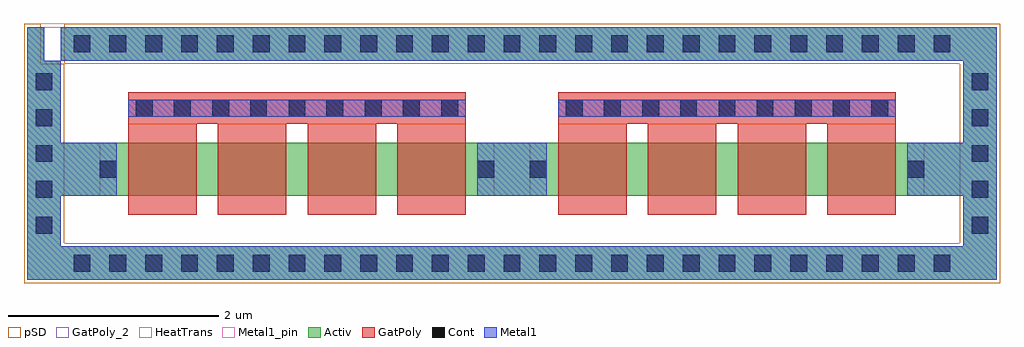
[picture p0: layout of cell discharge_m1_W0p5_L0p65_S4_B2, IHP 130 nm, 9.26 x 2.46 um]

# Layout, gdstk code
import gdstk
lib = gdstk.Library(unit=1e-6, precision=1e-09)
def R(c, l, rs):  # rectangles x0, y0, x1, y1
    for r in rs: c.add(gdstk.rectangle(r[:2], r[2:], *l))
def A(c, l, x, y, w, h, nx, ny, dx, dy):  # array of equal rectangles
    R(c, l, [(x+i*dx, y+j*dy, x+i*dx+w, y+j*dy+h) for i in range(nx) for j in range(ny)])
def P(c, l, *ps):  # polygons
    for p in ps: c.add(gdstk.Polygon(p, *l))
Activ = (1, 0)
GatPoly = (5, 0)
GatPoly_2 = (5, 2)
Cont = (6, 0)
Metal1 = (8, 0)
Metal1_pin = (8, 2)
pSD = (14, 0)
HeatTrans = (51, 0)

nmos_series_w0p5_l0p65_s = lib.new_cell('nmos_series_W0p5_L0p65_S4_ISW0p2_Msg13_lv_nmos')
R(nmos_series_w0p5_l0p65_s, Activ, [(0,0,0.3,0.3), (0,0,3.88,0.5), (3.58,0,3.88,0.3)])
A(nmos_series_w0p5_l0p65_s, GatPoly, 0.34, -0.18, 0.65, 0.86, 4, 1, 0.85, 0)
A(nmos_series_w0p5_l0p65_s, GatPoly_2, 0.34, -0.18, 0.65, 0.86, 4, 1, 0.85, 0)
R(nmos_series_w0p5_l0p65_s, GatPoly_2, [(0.34,-0.18,0.99,0.68)])
R(nmos_series_w0p5_l0p65_s, Cont, [(0.07,0.17,0.23,0.33), (3.65,0.17,3.81,0.33)])
R(nmos_series_w0p5_l0p65_s, Metal1, [(0.07,0,0.23,0.5), (3.65,0,3.81,0.5)])
R(nmos_series_w0p5_l0p65_s, Metal1_pin, [(0.07,0,0.23,0.5), (3.65,0,3.81,0.5)])
A(nmos_series_w0p5_l0p65_s, HeatTrans, 0.34, -0.18, 0.65, 0.86, 4, 1, 0.85, 0)

unnamed_24 = lib.new_cell('Unnamed_24')
P(unnamed_24, Activ, [(-0.62,-0.8),(-0.62,1.6),(-0.3,1.6),(-0.3,-0.48),(8.26,-0.48),(8.26,1.28),(-0.46,1.28),(-0.46,1.6),(8.58,1.6),(8.58,-0.8)])

unnamed_25 = lib.new_cell('Unnamed_25')
P(unnamed_25, Metal1, [(-0.62,-0.8),(-0.62,1.6),(-0.3,1.6),(-0.3,-0.48),(8.26,-0.48),(8.26,1.28),(-0.46,1.28),(-0.46,1.6),(8.58,1.6),(8.58,-0.8)])

unnamed_26 = lib.new_cell('Unnamed_26')
P(unnamed_26, pSD, [(-0.65,-0.83),(-0.65,1.63),(-0.27,1.63),(-0.27,-0.45),(8.23,-0.45),(8.23,1.25),(-0.49,1.25),(-0.49,1.63),(8.61,1.63),(8.61,-0.83)])

guard_ring_w0p32_g0p3_gp = lib.new_cell('guard_ring_W0p32_G0p3_Gpsub_B0_m0p18_7p96_0p98_PNone_LA_96711aad')
A(guard_ring_w0p32_g0p3_gp, Cont, -0.18, -0.72, 0.16, 0.16, 25, 2, 0.34, 2.08)
A(guard_ring_w0p32_g0p3_gp, Cont, -0.54, -0.36, 0.16, 0.16, 1, 5, 0, 0.34)
A(guard_ring_w0p32_g0p3_gp, Cont, 8.34, -0.36, 0.16, 0.16, 1, 5, 0, 0.34)
guard_ring_w0p32_g0p3_gp.add(gdstk.Reference(unnamed_24, (0,0)))
guard_ring_w0p32_g0p3_gp.add(gdstk.Reference(unnamed_25, (0,0)))
guard_ring_w0p32_g0p3_gp.add(gdstk.Reference(unnamed_26, (0,0)))

discharge_m1_w0p5_l0p65_ = lib.new_cell('discharge_m1_W0p5_L0p65_S4_B2')
R(discharge_m1_w0p5_l0p65_, Activ, [(-0.46,0,0.15,0.5), (3.73,0,4.23,0.5), (7.81,0,8.42,0.5)])
R(discharge_m1_w0p5_l0p65_, GatPoly, [(0.34,0.68,3.54,0.98), (4.42,0.68,7.62,0.98)])
R(discharge_m1_w0p5_l0p65_, Cont, [(0.41,0.75,0.57,0.91), (0.77,0.75,0.93,0.91), (1.135,0.75,1.295,0.91), (1.495,0.75,1.655,0.91), (1.86,0.75,2.02,0.91), (2.22,0.75,2.38,0.91), (2.585,0.75,2.745,0.91), (2.945,0.75,3.105,0.91), (3.31,0.75,3.47,0.91), (4.49,0.75,4.65,0.91), (4.85,0.75,5.01,0.91), (5.215,0.75,5.375,0.91), (5.575,0.75,5.735,0.91), (5.94,0.75,6.1,0.91), (6.3,0.75,6.46,0.91), (6.665,0.75,6.825,0.91), (7.025,0.75,7.185,0.91), (7.39,0.75,7.55,0.91)])
R(discharge_m1_w0p5_l0p65_, Metal1, [(-0.46,0,0.15,0.5), (3.73,0,4.23,0.5), (7.81,0,8.42,0.5), (0.34,0.75,3.54,0.91), (4.42,0.75,7.62,0.91)])
discharge_m1_w0p5_l0p65_.add(gdstk.Reference(nmos_series_w0p5_l0p65_s, (0,0)))
discharge_m1_w0p5_l0p65_.add(gdstk.Reference(nmos_series_w0p5_l0p65_s, (4.08,0)))
discharge_m1_w0p5_l0p65_.add(gdstk.Reference(guard_ring_w0p32_g0p3_gp, (0,0)))

lib.write_gds('discharge_m1_W0p5_L0p65_S4_B2.gds')
